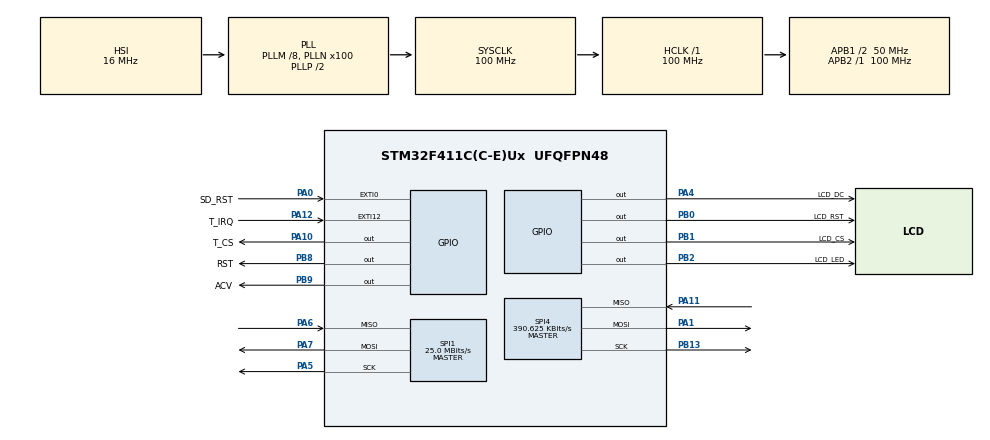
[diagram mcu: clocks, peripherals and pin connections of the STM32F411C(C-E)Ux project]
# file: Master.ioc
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Dma.Request0=SPI1_TX
Dma.SPI1_TX.0.Direction=DMA_MEMORY_TO_PERIPH
Dma.SPI1_TX.0.FIFOMode=DMA_FIFOMODE_DISABLE
Dma.SPI1_TX.0.Instance=DMA2_Stream2
Dma.SPI1_TX.0.MemDataAlignment=DMA_MDATAALIGN_BYTE
Dma.SPI1_TX.0.MemInc=DMA_MINC_ENABLE
Dma.SPI1_TX.0.Mode=DMA_NORMAL
Dma.SPI1_TX.0.PeriphDataAlignment=DMA_PDATAALIGN_BYTE
Dma.SPI1_TX.0.PeriphInc=DMA_PINC_DISABLE
Dma.SPI1_TX.0.Priority=DMA_PRIORITY_LOW
Mcu.Family=STM32F4
Mcu.Name=STM32F411C(C-E)Ux
Mcu.Package=UFQFPN48
NVIC.DMA2_Stream2_IRQn=true\:0\:0\:false\:false\:true\:false\:true\:true
NVIC.EXTI0_IRQn=true\:0\:0\:false\:false\:true\:true\:true\:true
NVIC.EXTI15_10_IRQn=true\:0\:0\:false\:false\:true\:true\:true\:true
NVIC.PriorityGroup=NVIC_PRIORITYGROUP_4
PA0-WKUP.GPIO_Label=SD_RST
PA0-WKUP.Signal=GPXTI0
PA1.Mode=Full_Duplex_Master
PA1.Signal=SPI4_MOSI
PA10.GPIO_Label=T_CS
PA10.GPIO_Speed=GPIO_SPEED_FREQ_HIGH
PA10.PinState=GPIO_PIN_SET
PA10.Signal=GPIO_Output
PA11.Mode=Full_Duplex_Master
PA11.Signal=SPI4_MISO
PA12.GPIO_Label=T_IRQ
PA12.GPIO_PuPd=GPIO_PULLUP
PA12.Signal=GPXTI12
PA4.GPIO_Label=LCD_DC
PA4.GPIO_Speed=GPIO_SPEED_FREQ_VERY_HIGH
PA4.Signal=GPIO_Output
PA5.Mode=Full_Duplex_Master
PA5.Signal=SPI1_SCK
PA6.Mode=Full_Duplex_Master
PA6.Signal=SPI1_MISO
PA7.Mode=Full_Duplex_Master
PA7.Signal=SPI1_MOSI
PB0.GPIO_Label=LCD_RST
PB0.GPIO_Speed=GPIO_SPEED_FREQ_VERY_HIGH
PB0.PinState=GPIO_PIN_RESET
PB0.Signal=GPIO_Output
PB1.GPIO_Label=LCD_CS
PB1.GPIO_Speed=GPIO_SPEED_FREQ_VERY_HIGH
PB1.PinState=GPIO_PIN_RESET
PB1.Signal=GPIO_Output
PB13.Mode=Full_Duplex_Master
PB13.Signal=SPI4_SCK
PB2.GPIO_Label=LCD_LED
PB2.PinState=GPIO_PIN_SET
PB2.Signal=GPIO_Output
PB8.GPIO_Label=RST
PB8.PinState=GPIO_PIN_SET
PB8.Signal=GPIO_Output
PB9.GPIO_Label=ACV
PB9.Signal=GPIO_Output
ProjectManager.HeapSize=0x200
ProjectManager.StackSize=0x400
ProjectManager.TargetToolchain=STM32CubeIDE
RCC.48MHZClocksFreq_Value=50000000
RCC.AHBFreq_Value=100000000
RCC.APB1CLKDivider=RCC_HCLK_DIV2
RCC.APB1Freq_Value=50000000
RCC.APB1TimFreq_Value=100000000
RCC.APB2Freq_Value=100000000
RCC.APB2TimFreq_Value=100000000
RCC.CortexFreq_Value=100000000
RCC.HCLKFreq_Value=100000000
RCC.HSE_VALUE=25000000
RCC.HSI_VALUE=16000000
RCC.LSE_VALUE=32768
RCC.PLLM=8
RCC.PLLN=100
RCC.SYSCLKFreq_VALUE=100000000
RCC.SYSCLKSource=RCC_SYSCLKSOURCE_PLLCLK
RCC.VCOOutputFreq_Value=200000000
SPI1.BaudRatePrescaler=SPI_BAUDRATEPRESCALER_4
SPI1.CLKPolarity=SPI_POLARITY_LOW
SPI1.CalculateBaudRate=25.0 MBits/s
SPI1.Direction=SPI_DIRECTION_2LINES
SPI1.Mode=SPI_MODE_MASTER
SPI1.VirtualType=VM_MASTER
SPI4.BaudRatePrescaler=SPI_BAUDRATEPRESCALER_256
SPI4.CalculateBaudRate=390.625 KBits/s
SPI4.Direction=SPI_DIRECTION_2LINES
SPI4.Mode=SPI_MODE_MASTER
SPI4.VirtualType=VM_MASTER
TIM2.Prescaler=99
VP_TIM2_VS_ClockSourceINT.Mode=Internal
board=custom

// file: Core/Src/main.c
/* USER CODE BEGIN Header */
/**
  ******************************************************************************
  * @file           : main.c
  * @brief          : Main program body
  ******************************************************************************
  * @attention
  *
  * Copyright (c) 2023 STMicroelectronics.
  * All rights reserved.
  *
  * This software is licensed under terms that can be found in the LICENSE file
  * in the root directory of this software component.
  * If no LICENSE file comes with this software, it is provided AS-IS.
  *
  ******************************************************************************
  */
/* USER CODE END Header */
#include "main.h"
#include "dma.h"
#include "spi.h"
#include "tim.h"
#include "gpio.h"

/* USER CODE BEGIN Includes */
#include "ILI9341_STM32_Driver.h"
#include "ILI9341_GFX.h"
#include "XPT2046_touch.h"
#include "stdio.h"
#include "common.h"
#include "menu.h"
#include "menu_GUI.h"
/* USER CODE END Includes */

/* USER CODE BEGIN PV */
volatile uint8_t pressed=0;
volatile uint16_t X=0 ,Y=0;
uint8_t ACV=0;
volatile uint8_t RSTinfo=0;
uint32_t time1,time2;
/* USER CODE END PV */

void SystemClock_Config(void);

int main(void)
{

  /* MCU Configuration--------------------------------------------------------*/

  /* Reset of all peripherals, Initializes the Flash interface and the Systick. */
  HAL_Init();

  /* Configure the system clock */
  SystemClock_Config();

  /* Initialize all configured peripherals */
  MX_GPIO_Init();
  MX_DMA_Init();
  MX_SPI1_Init();
  MX_SPI4_Init();
  MX_TIM2_Init();
  /* USER CODE BEGIN 2 */
  ILI9341_Init();
  ILI9341_SetRotation( SCREEN_VERTICAL_2);
  ILI9341_FillScreen(RED);
/*
  HAL_TIM_Base_Start(&htim2);
  refresh_structarray();
  refreshStructPos();
  menu_refresh();
  refresh_taskbar();*/
  /* USER CODE END 2 */

  /* Infinite loop */
  /* USER CODE BEGIN WHILE */
  while (1)
  {
	  if(pressed){
	  	 time1=TIM2->CNT;
	    	ILI9341_DrawHollowCircle(X,Y, 10, RED);
	  	 screen_tap_press();
	  	  time2=TIM2->CNT-time1;
	  	  pressed=0;

	  }
	  if(RSTinfo==1){
		  ILI9341_DrawText("RESET SD CARD", FONT4, 0, 0, ORANGE, WHITE);

	  }

    /* USER CODE END WHILE */

  }
}

void SystemClock_Config(void)
{
  RCC_OscInitTypeDef RCC_OscInitStruct = {0};
  RCC_ClkInitTypeDef RCC_ClkInitStruct = {0};

  /** Configure the main internal regulator output voltage
  */
  __HAL_RCC_PWR_CLK_ENABLE();
  __HAL_PWR_VOLTAGESCALING_CONFIG(PWR_REGULATOR_VOLTAGE_SCALE1);

  /** Initializes the RCC Oscillators according to the specified parameters
  * in the RCC_OscInitTypeDef structure.
  */
  RCC_OscInitStruct.OscillatorType = RCC_OSCILLATORTYPE_HSI;
  RCC_OscInitStruct.HSIState = RCC_HSI_ON;
  RCC_OscInitStruct.HSICalibrationValue = RCC_HSICALIBRATION_DEFAULT;
  RCC_OscInitStruct.PLL.PLLState = RCC_PLL_ON;
  RCC_OscInitStruct.PLL.PLLSource = RCC_PLLSOURCE_HSI;
  RCC_OscInitStruct.PLL.PLLM = 8;
  RCC_OscInitStruct.PLL.PLLN = 100;
  RCC_OscInitStruct.PLL.PLLP = RCC_PLLP_DIV2;
  RCC_OscInitStruct.PLL.PLLQ = 4;
  if (HAL_RCC_OscConfig(&RCC_OscInitStruct) != HAL_OK)
  {
    Error_Handler();
  }

  /** Initializes the CPU, AHB and APB buses clocks
  */
  RCC_ClkInitStruct.ClockType = RCC_CLOCKTYPE_HCLK|RCC_CLOCKTYPE_SYSCLK
                              |RCC_CLOCKTYPE_PCLK1|RCC_CLOCKTYPE_PCLK2;
  RCC_ClkInitStruct.SYSCLKSource = RCC_SYSCLKSOURCE_PLLCLK;
  RCC_ClkInitStruct.AHBCLKDivider = RCC_SYSCLK_DIV1;
  RCC_ClkInitStruct.APB1CLKDivider = RCC_HCLK_DIV2;
  RCC_ClkInitStruct.APB2CLKDivider = RCC_HCLK_DIV1;

  if (HAL_RCC_ClockConfig(&RCC_ClkInitStruct, FLASH_LATENCY_3) != HAL_OK)
  {
    Error_Handler();
  }
}

/* USER CODE BEGIN 4 */
void HAL_GPIO_EXTI_Callback(uint16_t GPIO_Pin){
	if(GPIO_Pin==T_IRQ_Pin){
		if(XPT2046_TouchPressed() ){
			if(XPT2046_TouchGetCoordinates((uint16_t*)&X, (uint16_t*)&Y)){
				pressed=1;

			}
		}
	}
	if(GPIO_Pin==SD_RST_Pin){
		RSTinfo=1;

	}
}
/* USER CODE END 4 */

void Error_Handler(void)
{
  __disable_irq();
  while (1)
  {
  }
}
